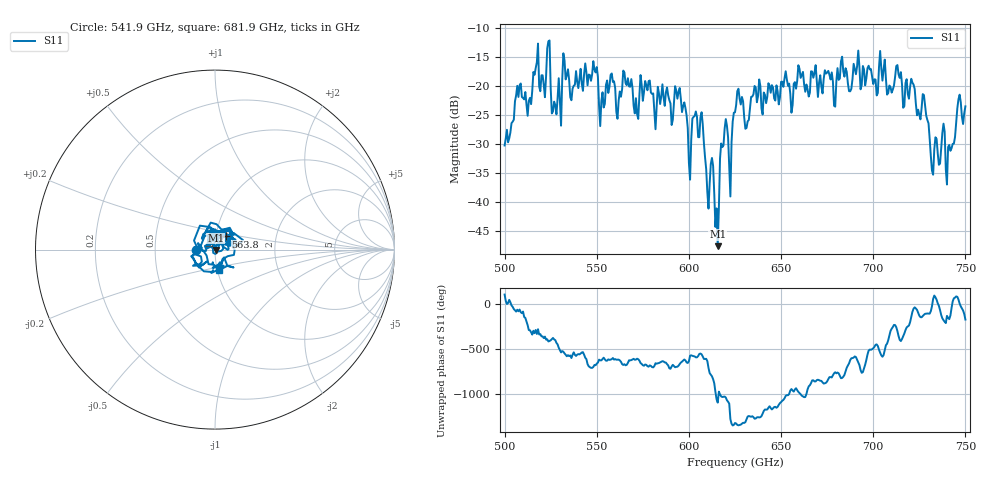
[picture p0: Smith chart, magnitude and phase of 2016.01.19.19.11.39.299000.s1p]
!Created with skrf (http://scikit-rf.org).
# GHz S RI R 50.0
!freq ReS11 ImS11
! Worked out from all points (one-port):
!   401 points, 500 GHz to 750 GHz, reference 50 ohm
!   lowest |S11| = -47.6 dB at 615.6 GHz (marker M1), VSWR 1.01, Z = 50.4 - j0.154 ohm
!   |S11| at or under -10 dB: start of sweep to end of sweep
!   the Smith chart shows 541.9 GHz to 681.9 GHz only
!   S11 on the Smith chart (normalised r, x): 541.9 GHz: 0.81, -0.00; 563.8 GHz: 1.11, +0.16; 681.9 GHz: 1.02, -0.24
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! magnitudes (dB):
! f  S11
! 500 GHz  -30.2
! 507.5 GHz  -21.8
! 513.8 GHz  -22.0
! 516.9 GHz  -16.8
! 523.8 GHz  -12.2
! 526.9 GHz  -22.6
! 531.2 GHz  -18.9
! 541.9 GHz  -19.5
! 562.5 GHz  -20.9
! 563.8 GHz  -20.5
! 571.2 GHz  -22.0
! 593.8 GHz  -22.1
! 600 GHz  -33.2
! 606.9 GHz  -24.5
! 610 GHz  -38.3
! 615.6 GHz  -47.6
! 618.8 GHz  -30.2
! 622.5 GHz  -39.0
! 625 GHz  -24.5
! 656.2 GHz  -23.2
! 681.9 GHz  -18.6
! 687.5 GHz  -20.9
! 718.8 GHz  -21.3
! 728.1 GHz  -23.3
! 731.9 GHz  -34.5
! 740.6 GHz  -30.5
! 746.2 GHz  -22.2
! 750 GHz  -23.4
